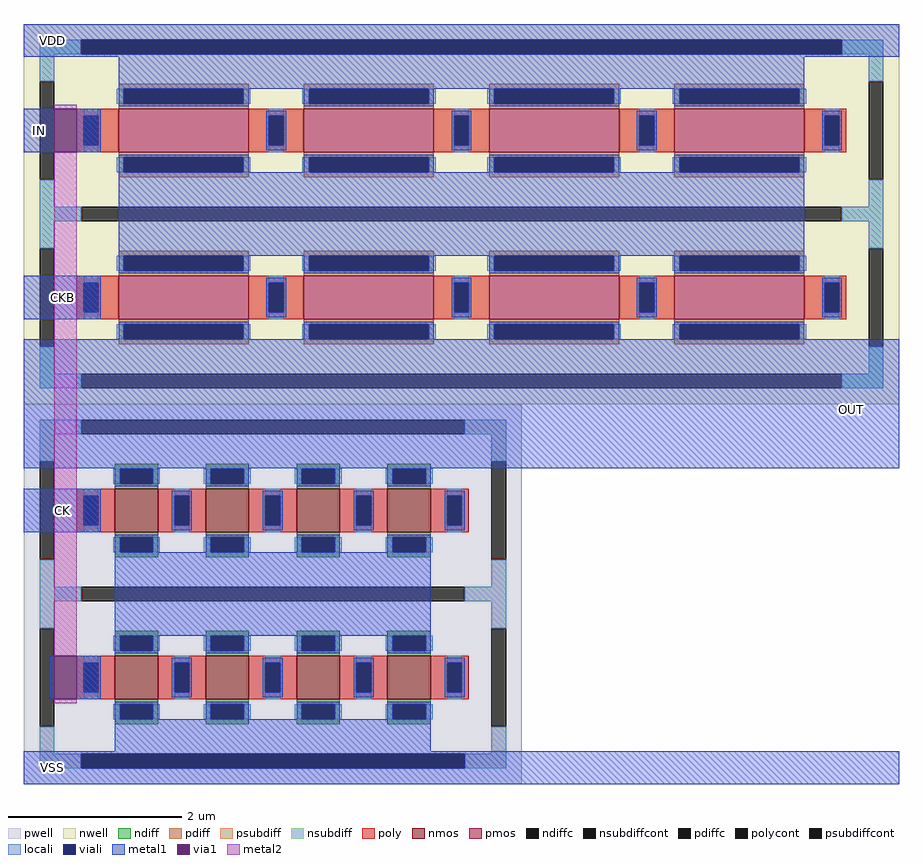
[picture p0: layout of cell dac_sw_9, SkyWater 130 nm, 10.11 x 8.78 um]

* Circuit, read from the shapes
.subckt dac_sw_9 VDD IN CKB CK VSS OUT
XM1 n1 IN VSS VSS sky130_fd_pr__nfet_01v8 w=0.5 l=0.5 m=4
XM2 OUT CK n1 VSS sky130_fd_pr__nfet_01v8 w=0.5 l=0.5 m=4
XM3 n2 CKB OUT VDD sky130_fd_pr__pfet_01v8 w=1.5 l=0.5 m=4
XM4 VDD IN n2 VDD sky130_fd_pr__pfet_01v8 w=1.5 l=0.5 m=4
.ends

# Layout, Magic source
magic
tech sky130A
magscale 1 2
<< viali >>
rect 238 1527 1996 1561
rect 238 -123 1124 -89
<< metal1 >>
rect 106 1561 2128 1597
rect 106 1527 238 1561
rect 1996 1527 2128 1561
rect 106 1521 2128 1527
rect 325 1447 1909 1521
rect 106 1301 176 1401
rect 228 1301 283 1401
rect 325 1061 1909 1255
rect 106 915 284 1015
rect 106 570 2128 869
rect 106 423 284 523
rect 316 183 1046 377
rect 166 37 176 137
rect 228 37 284 137
rect 316 -83 1046 -9
rect 106 -89 2128 -83
rect 106 -123 238 -89
rect 1124 -123 2128 -89
rect 106 -159 2128 -123
<< via1 >>
rect 176 1301 228 1401
rect 176 37 228 137
<< metal2 >>
rect 176 1401 228 1411
rect 176 137 228 1301
rect 176 27 228 37
use sky130_fd_pr__nfet_01v8_KT5VMN  sky130_fd_pr__nfet_01v8_KT5VMN_0
transform 0 1 681 -1 0 87
box -246 -575 246 575
use sky130_fd_pr__pfet_01v8_NMYCWJ  sky130_fd_pr__pfet_01v8_NMYCWJ_0
transform 0 1 1117 -1 0 965
box -246 -1011 246 1011
use sky130_fd_pr__pfet_01v8_NMYCWJ  XM1
transform 0 1 1117 -1 0 1351
box -246 -1011 246 1011
use sky130_fd_pr__nfet_01v8_KT5VMN  XM3
transform 0 1 681 -1 0 473
box -246 -575 246 575
<< labels >>
flabel metal1 106 1521 238 1597 0 FreeSans 400 0 0 0 VDD
port 0 nsew
flabel metal1 106 1301 176 1401 0 FreeSans 400 0 0 0 IN
port 1 nsew
flabel metal1 106 915 284 1015 0 FreeSans 400 0 0 0 CKB
port 2 nsew
flabel metal1 106 423 284 523 0 FreeSans 400 0 0 0 CK
port 3 nsew
flabel metal1 106 -159 238 -83 0 FreeSans 400 0 0 0 VSS
port 4 nsew
flabel metal1 1962 666 2074 747 0 FreeSans 400 0 0 0 OUT
port 6 nsew
<< end >>

# cell sky130_fd_pr__nfet_01v8_KT5VMN: kit device sky130_fd_pr__nfet_01v8, w 0.5 l 0.5 m 4 nf 1 diffcov 100 polycov 100 guard 1 glc 1 grc 1 gtc 1 gbc 1 tbcov 100 rlcov 100 topc 1 botc 1 poverlap 1 doverlap 0 lmin 0.15 wmin 0.42 compatible {sky130_fd_pr__nfet_01v8 sky130_fd_pr__nfet_01v8_lvt sky130_fd_bs_flash__special_sonosfet_star sky130_fd_pr__nfet_g5v0d10v5 sky130_fd_pr__nfet_05v0_nvt sky130_fd_pr__nfet_03v3_nvt} full_metal 1 viasrc 100 viadrn 100 viagate 100 viagb 0 viagr 0 viagl 0 viagt 0

# cell sky130_fd_pr__pfet_01v8_NMYCWJ: kit device sky130_fd_pr__pfet_01v8, w 1.5 l 0.5 m 4 nf 1 diffcov 100 polycov 100 guard 1 glc 1 grc 1 gtc 1 gbc 1 tbcov 100 rlcov 100 topc 1 botc 1 poverlap 1 doverlap 0 lmin 0.15 wmin 0.42 compatible {sky130_fd_pr__pfet_01v8 sky130_fd_pr__pfet_01v8_lvt sky130_fd_pr__pfet_01v8_hvt sky130_fd_pr__pfet_g5v0d10v5} full_metal 1 viasrc 100 viadrn 100 viagate 100 viagb 0 viagr 0 viagl 0 viagt 0
